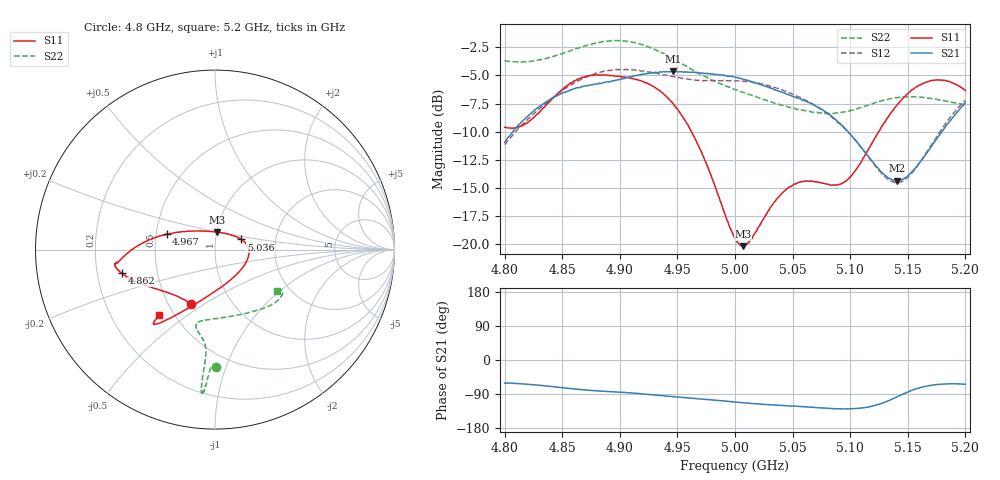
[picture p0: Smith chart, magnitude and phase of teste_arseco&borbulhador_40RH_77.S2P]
! Network Analyzer HP8722D
! Hewlett-Packard
! Data name: Linha & Wilkinson
! Saver's name: Rodrigo Anjos
! Comments: Teste da utilização de aquisição
! continua pelo VNA HP8722D
! Time and date: 15/4/2025 16:59
!  Frequency  S11  S21  S12  S22
# HZ  S  MA R 50
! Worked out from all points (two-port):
!   401 points, 4.8 GHz to 5.2 GHz, reference 50 ohm
!   highest |S21| = -4.64 dB at 4.946 GHz (marker M1); lowest = -14.4 dB at 5.141 GHz (marker M2)
!   |S21| within 3 dB of the highest: 4.832 GHz to 5.069 GHz (236.7 MHz wide, 4.78 % of centre); 5.198268 GHz to end of sweep
!   lowest |S11| = -20.2 dB at 5.007 GHz (marker M3), VSWR 1.22, Z = 50.3 + j9.83 ohm
!   |S11| at or under -10 dB: 4.962 GHz to 5.125 GHz (162.6 MHz wide, 3.22 % of centre)
!   |S22| runs from -8.4 to -1.9 dB; largest |S21 - S12| = 0.88
!   S11 on the Smith chart (normalised r, x): 4.8 GHz: 0.65, -0.44; 4.862 GHz: 0.31, -0.11; 4.967 GHz: 0.57, +0.11; 5.036 GHz: 1.34, +0.16; 5.2 GHz: 0.41, -0.39
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4.8e9  0.3307 -113.8  0.2833 -60.8  0.2766 -175.0  0.6548 -89.6
4.819e9  0.3449 -133.6  0.3658 -63.8  0.3539 -173.4  0.6484 -91.3
4.862e9  0.5357 -165.7  0.4953 -76.8  0.5281 -176.5  0.7406 -93.5
4.867e9  0.5498 -167.7  0.5018 -78.4  0.5431 -177.5  0.7546 -93.8
4.902e9  0.554 -172.2  0.544 -85.2  0.5981 175.2  0.8022 -95.3
4.934e9  0.4844 -178.0  0.5803 -93.3  0.5718 171.9  0.7173 -95.6
4.946e9  0.4226 176.4  0.5862 -96.8  0.5562 172.1  0.6687 -95.3
4.967e9  0.2829 162.4  0.5783 -102.2  0.5352 173.9  0.5798 -95.0
5e9  0.106 106.7  0.5523 -111.0  0.5324 176.4  0.4859 -99.3
5.007e9  0.0976 82.5  0.5406 -112.6  0.5305 176.4  0.4732 -100.9
5.013e9  0.1031 63.6  0.531 -114.4  0.5262 176.1  0.4617 -102.3
5.036e9  0.158 21.0  0.4826 -119.0  0.4942 175.0  0.422 -103.6
5.052e9  0.1847 4.6  0.451 -121.8  0.4592 174.4  0.4008 -99.6
5.067e9  0.1901 -11.8  0.4201 -124.7  0.4213 173.9  0.3865 -91.8
5.086e9  0.1827 -42.4  0.3627 -128.7  0.3607 173.8  0.3814 -77.8
5.097e9  0.1915 -65.4  0.3201 -129.0  0.3204 174.5  0.3889 -68.5
5.134e9  0.3744 -116.2  0.1954 -106.5  0.1919 -159.4  0.442 -43.4
5.141e9  0.4172 -120.2  0.1909 -96.6  0.1875 -148.4  0.4483 -40.3
5.153e9  0.4816 -125.1  0.2076 -80.8  0.2052 -129.8  0.4521 -35.9
5.17e9  0.5325 -128.7  0.2695 -66.8  0.274 -113.0  0.4447 -32.1
5.184e9  0.531 -130.0  0.3399 -63.1  0.3506 -107.2  0.4317 -31.1
5.2e9  0.4817 -130.4  0.4241 -64.1  0.4355 -106.1  0.4158 -33.5
